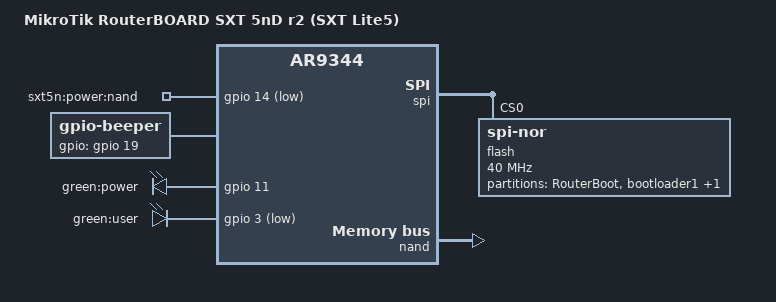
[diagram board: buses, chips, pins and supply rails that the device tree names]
// SPDX-License-Identifier: GPL-2.0-or-later OR MIT

#include "ar9344_mikrotik_routerboard.dtsi"

/ {
	compatible = "mikrotik,routerboard-sxt-5nd-r2", "qca,ar9344";
	model = "MikroTik RouterBOARD SXT 5nD r2 (SXT Lite5)";

	gpio-export {
		compatible = "gpio-export";

		gpio_nand_power {
			gpio-export,name = "sxt5n:power:nand";
			gpio-export,output = <0>;
			gpios = <&gpio 14 GPIO_ACTIVE_LOW>;
		};
	};

	beeper {
		compatible = "gpio-beeper";
		gpios = <&gpio 19 GPIO_ACTIVE_HIGH>;
	};
};

&leds {
	power {
		label = "green:power";
		gpios = <&gpio 11 GPIO_ACTIVE_HIGH>;
		default-state = "on";
	};

	led_user: user {
		label = "green:user";
		gpios = <&gpio 3 GPIO_ACTIVE_LOW>;
	};
};

&spi {
	status = "okay";

	flash@0 {
		compatible = "jedec,spi-nor";
		reg = <0>;
		spi-max-frequency = <40000000>;

		partitions {
			compatible = "fixed-partitions";
			#address-cells = <1>;
			#size-cells = <1>;

			partition@0 {
				label = "RouterBoot";
				reg = <0x0 0x20000>;
				compatible = "mikrotik,routerboot-partitions";
				#address-cells = <1>;
				#size-cells = <1>;

				partition@0 {
					label = "bootloader1";
					reg = <0x0 0x0>;
					read-only;
				};

				hard_config {
					read-only;
				};

				bios {
					size = <0x1000>;
					read-only;
				};

				soft_config {
				};

				partition@10000 {
					label = "bootloader2";
					reg = <0x10000 0x10000>;
					read-only;
				};
			};
		};
	};
};

&nand {
	status = "okay";

	nand-ecc-mode = "soft";
	nand-ecc-step-size = <2048>;
	qca,nand-swap-dma;
	qca,nand-scan-fixup;

	partitions {
		compatible = "fixed-partitions";
		#address-cells = <1>;
		#size-cells = <1>;

		partition@0 {
			label = "booter";
			reg = <0x0000000 0x0040000>;
			read-only;
		};

		partition@40000 {
			label = "kernel";
			reg = <0x0040000 0x03c0000>;
		};

		partition@400000 {
			label = "ubi";
			reg = <0x0400000 0x7c00000>;
		};
	};
};
